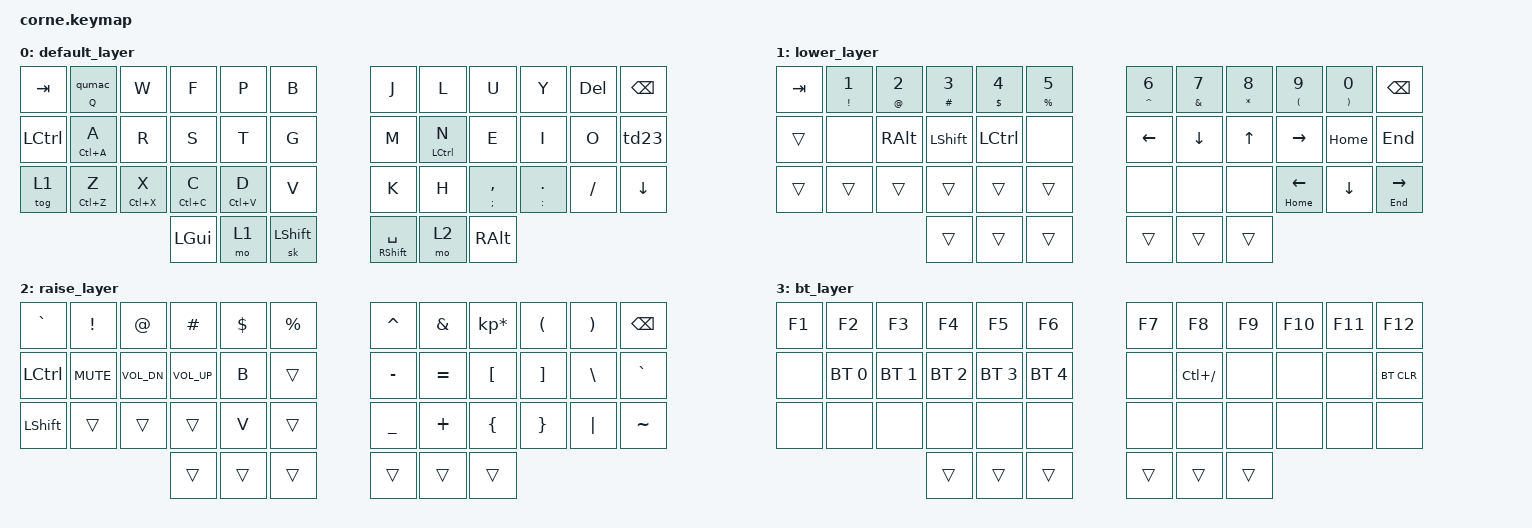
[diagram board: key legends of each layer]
/*
 * Copyright (c) 2020 The ZMK Contributors
 *
 * SPDX-License-Identifier: MIT
 */

#include <behaviors.dtsi>
#include <dt-bindings/zmk/keys.h>
#include <dt-bindings/zmk/bt.h>

&mt {
    flavor = "tap-preferred";    
    tapping-term-ms = <400>;
};


&sk {
    release-after-ms = <2000>;
    quick-release;
};


/ {
        conditional_layers {
                compatible = "zmk,conditional-layers";
                bt_layer {
                if-layers = <1 2>;
                then-layer = <3>;
                };
        };
        
        combos {
        compatible = "zmk,combos";
        combo_esc { 
            timeout-ms = <50>;
            key-positions = <1 2>;
            bindings = <&kp ESC>;
            };                
        
        combo_ent { 
            timeout-ms = <20>;
            key-positions = <20 21>;
            bindings = <&kp ENTER>;
            };
        
        combo_dash { 
            timeout-ms = <20>;
            key-positions = <19 20>;
            bindings = <&kp MINUS>;
            };

        combo_uscore { 
            timeout-ms = <20>;
            key-positions = <31 32>;
            bindings = <&kp UNDER>;
            };

        combo_V { 
            timeout-ms = <20>;
            key-positions = <15 28>;
            bindings = <&kp V>;
            };

        combo_B { 
            timeout-ms = <20>;
            key-positions = <15 16>;
            bindings = <&kp B>;
            };

        combo_K { 
            timeout-ms = <20>;
            key-positions = <20 31>;
            bindings = <&kp K>;
            };

        combo_prntscr { 
            timeout-ms = <20>;
            key-positions = <9 10>;
            bindings = <&kp PRINTSCREEN>;
            };

        combo_tab {
            timeout-ms = <20>;
            key-positions = <14 15>;
            bindings = <&kp TAB>;        
            };

                    
        };

        behaviors {
        td23: tap_dance23 {
                compatible = "zmk,behavior-tap-dance";
                label = "TAP_DANCE23";
                #binding-cells = <0>;
                tapping-term-ms = <200>;
                bindings = <&kp SQT>, <&kp DQT>;
                };

        mtrsh: mt_rshift_space {
                compatible = "zmk,behavior-hold-tap";
                label = "RSHIFT_HOLDTAP";
                flavor = "hold-preferred";
                #binding-cells = <2>;    
                tapping-term-ms = <200>;
                bindings = <&kp>, <&kp>;
                };

        qumac: qu_macro {
		compatible = "zmk,behavior-macro";
		label = "qumacro";
                tap-ms = <0>;
                wait-ms = <0>;
		#binding-cells = <0>;
		bindings = <&kp Q &kp U>;
                };

        mtmac: mt_macro {
                compatible = "zmk,behavior-hold-tap";
                label = "MACRO_HOLDTAP";
                flavor = "tap-preferred";
                #binding-cells = <2>;    
                tapping-term-ms = <200>;
                bindings = <&kp>, <&qumac>;
                };

        
        };

        keymap {
                compatible = "zmk,keymap";

                default_layer {
                        bindings = <
   &kp TAB      &mtmac Q 0    &kp W         &kp F           &kp P            &kp B                &kp J   &kp L         &kp U           &kp Y          &kp DEL    &kp BSPC
   &kp LCTRL    &mt LC(A) A   &kp R         &kp S           &kp T            &kp G                &kp M   &mt LCTRL N   &kp E           &kp I          &kp O      &td23
   &tog 1       &mt LC(Z) Z   &mt LC(X) X   &mt LC(C) C     &mt LC(V) D      &kp V                &kp K   &kp H         &mt SEMI COMMA  &mt COLON DOT  &kp FSLH   &kp DOWN
                                            &kp LGUI        &mo 1            &sk LSHIFT           &mtrsh RSHFT SPACE   &mo 2   &kp RALT
                        >;
                };

                lower_layer {
                        bindings = <
   &kp TAB    &mt EXCL N1  &mt AT N2    &mt HASH N3  &mt DLLR N4  &mt PRCNT N5          &mt CARET N6   &mt AMPS N7   &mt STAR N8 &mt LPAR N9    &mt RPAR N0 &kp BACKSPACE
   &trans     &none        &kp RALT     &kp LSHFT    &kp LCTRL    &none                 &kp LEFT       &kp DOWN      &kp UP      &kp RIGHT      &kp HOME    &kp END
   &trans     &trans       &trans       &trans       &trans       &trans                &none          &none         &none       &mt HOME LEFT  &kp DOWN    &mt END RIGHT
                          	          &trans     &trans       &trans                &trans   &trans   &trans
                        >;
                };

                raise_layer {
                        bindings = <
   &kp GRAVE  &kp EXCL     &kp AT       &kp HASH       &kp DLLR  &kp PRCNT              &kp CARET &kp AMPS   &kp KP_MULTIPLY   &kp LPAR   &kp RPAR    &kp BSPC
   &kp LCTRL  &kp C_MUTE   &kp C_VOL_DN &kp C_VOL_UP   &kp B    &trans                 &kp MINUS &kp EQUAL  &kp LBKT          &kp RBKT   &kp BSLH    &kp GRAVE
   &kp LSHFT  &trans       &trans       &trans         &kp V    &trans                 &kp UNDER &kp PLUS   &kp LBRC          &kp RBRC   &kp PIPE    &kp TILDE
                    	                 &trans     &trans       &trans                 &trans   &trans   &trans
                        >;
                };

                bt_layer {
                        bindings = <
   &kp F1   &kp F2        &kp F3        &kp F4        &kp F5       &kp F6                &kp F7  &kp F8  &kp F9  &kp F10   &kp F11   &kp F12
   &none    &bt BT_SEL 0  &bt BT_SEL 1  &bt BT_SEL 2  &bt BT_SEL 3 &bt BT_SEL 4          &none   &kp LC(FSLH)   &none   &none     &none     &bt BT_CLR
   &none    &none         &none         &none         &none        &none                 &none   &none   &none   &none     &none     &none
                      &trans     &trans       &trans         &trans   &trans   &trans
                        
                        >;      
                };
        

        };
};
